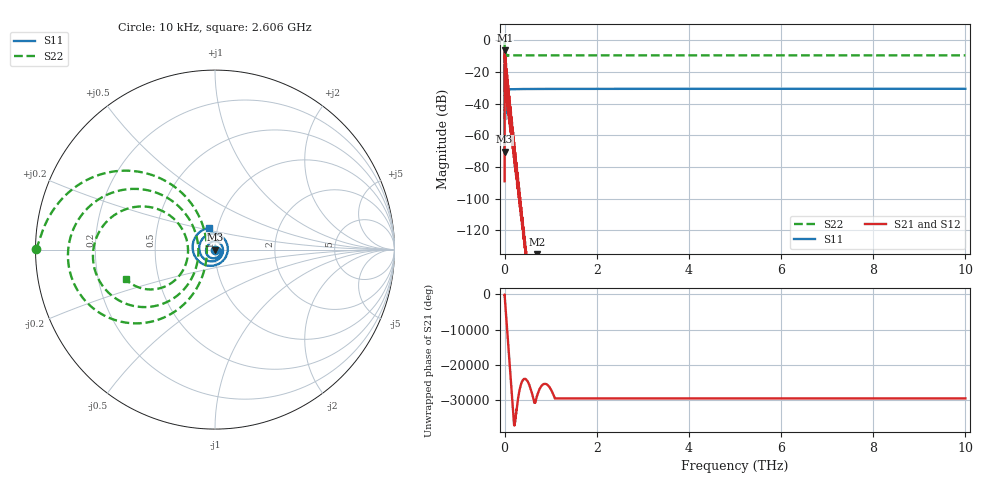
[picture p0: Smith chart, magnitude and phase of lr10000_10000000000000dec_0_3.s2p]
! NPort=2 DATA=4501 NOISE=0 GROUPDELAY=0 COMPLEX_DATAFORMAT=RI
! NumOfBlock=1 NumOfParam=0
! .MODEL Smodel S TSTONEFILE=./link_rx/link_rx_l2/lr10000_10000000000000dec_0_3.s2p TYPE=S
!  -- The above .MODEL line can be used for the S element in the netlist.
# Hz S RI R  50
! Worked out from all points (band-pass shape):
!   4501 points, 10 kHz to 10 THz, reference 50 ohm
!   highest |S21| = -6.34 dB at 5.248 GHz (marker M1); lowest = -198.2 dB at 707.9 GHz (marker M2)
!   |S21| within 3 dB of the highest: 2.541 GHz to 8.522 GHz (5.982 GHz wide, 108 % of centre)
!   lowest |S11| = -70.4 dB at 10 kHz (marker M3), VSWR 1.00, Z = 50 + j0.0206 ohm
!   |S11| at or under -10 dB: start of sweep to end of sweep
!   |S22| runs from -26.9 to 0.0 dB; largest |S21 - S12| = 0
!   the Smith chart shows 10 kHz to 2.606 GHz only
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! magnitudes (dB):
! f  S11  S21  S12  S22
! 10 kHz  -70.4  -89.0  -89.0  0.0
! 316.2 kHz  -55.7  -66.2  -66.2  0.0
! 10 MHz  -40.9  -38.3  -38.3  -0.3
! 101.9 MHz  -30.5  -20.9  -20.9  -2.8
! 316.2 MHz  -26.3  -17.6  -17.6  -13.2
! 446.7 MHz  -25.6  -18.1  -18.1  -26.9
! 855.1 MHz  -26.6  -16.4  -16.4  -1.8
! 1.343 GHz  -22.2  -14.5  -14.5  -20.3
! 1.762 GHz  -21.2  -10.4  -10.4  -3.4
! 2.228 GHz  -19.7  -11.3  -11.3  -15.8
! 5.248 GHz  -15.6  -6.3  -6.3  -9.1
! 10 GHz  -32.6  -13.5  -13.5  -8.1
! 11.8 GHz  -33.4  -26.7  -26.7  -8.2
! 17.06 GHz  -21.4  -10.7  -10.7  -9.6
! 23.66 GHz  -30.4  -30.8  -30.8  -10.5
! 28.97 GHz  -27.2  -14.4  -14.4  -9.5
! 41.5 GHz  -33.0  -18.0  -18.0  -9.4
! 94.19 GHz  -30.9  -47.0  -47.0  -9.4
! 246.6 GHz  -30.7  -81.4  -81.4  -9.4
! 316.2 GHz  -30.7  -96.7  -96.7  -9.4
! 707.9 GHz  -30.7  -198.2  -198.2  -9.4
! 10 THz  -30.5  -  -  -9.4
